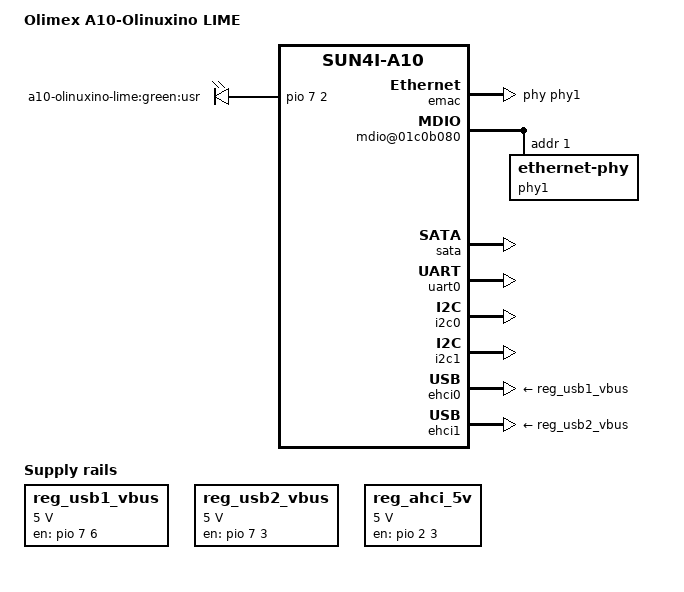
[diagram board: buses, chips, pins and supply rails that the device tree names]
/*
 * Copyright 2012 Stefan Roese
 * Stefan Roese <sr@denx.de>
 *
 * The code contained herein is licensed under the GNU General Public
 * License. You may obtain a copy of the GNU General Public License
 * Version 2 or later at the following locations:
 *
 * http://www.opensource.org/licenses/gpl-license.html
 * http://www.gnu.org/copyleft/gpl.html
 */

/dts-v1/;
/include/ "sun4i-a10.dtsi"

/ {
	model = "Olimex A10-Olinuxino LIME";
	compatible = "olimex,a10-olinuxino-lime", "allwinner,sun4i-a10";

	soc@01c00000 {
		emac: ethernet@01c0b000 {
			pinctrl-names = "default";
			pinctrl-0 = <&emac_pins_a>;
			phy = <&phy1>;
			status = "okay";
		};

		mdio@01c0b080 {
			status = "okay";

			phy1: ethernet-phy@1 {
				reg = <1>;
			};
		};

		sdc0: sdc@01c0f000 {
			pinctrl-names = "default";
			pinctrl-0 = <&sdc0_pins_a>;
			pinctrl-1 = <&mmc0_cd_pin_olinuxino>;
			cd-gpios = <&pio 7 1 0>; /* PH1 */
			cd-mode = <1>;
			status = "okay";
		};

		sata: ahci@01c18000 {
			pwr-supply = <&reg_ahci_5v>;
			status = "okay";
		};

		pinctrl@01c20800 {
			ahci_pwr_pin: ahci_pwr_pin@0 {
				allwinner,pins = "PC3";
				allwinner,function = "gpio_out";
				allwinner,drive = <0>;
				allwinner,pull = <0>;
			};

			mmc0_cd_pin_olinuxino: mmc0_cd_pin@0 {
				allwinner,pins = "PH1";
				allwinner,function = "gpio_in";
				allwinner,drive = <0>;
				allwinner,pull = <0>;
			};

			led_pins_olinuxino: led_pins@0 {
				allwinner,pins = "PH2";
				allwinner,function = "gpio_out";
				allwinner,drive = <1>;
				allwinner,pull = <0>;
			};

			usb1_vbus_pin: usb1_vbus_pin@0 {
					allwinner,pins = "PH6";
					allwinner,function = "gpio_out";
					allwinner,drive = <0>;
					allwinner,pull = <2>;
			};

			usb2_vbus_pin: usb2_vbus_pin@0 {
					allwinner,pins = "PH3";
					allwinner,function = "gpio_out";
					allwinner,drive = <0>;
					allwinner,pull = <2>;
			};
		};

		uart0: serial@01c28000 {
			pinctrl-names = "default";
			pinctrl-0 = <&uart0_pins_a>;
			status = "okay";
		};

		i2c0: i2c@01c2ac00 {
			pinctrl-names = "default";
			pinctrl-0 = <&i2c0_pins_a>;
			status = "okay";
		};

		i2c1: i2c@01c2b000 {
			pinctrl-names = "default";
			pinctrl-0 = <&i2c1_pins_a>;
			status = "okay";
		};

		ehci0: ehci0@0x01c14000 {
				vbus-supply = <&reg_usb1_vbus>;
				status = "okay";
		};

		ehci1: ehci1@0x01c1c000 {
				vbus-supply = <&reg_usb2_vbus>;
				status = "okay";
		};
	};

	leds {
		compatible = "gpio-leds";
		pinctrl-names = "default";
		pinctrl-0 = <&led_pins_olinuxino>;

		green {
			label = "a10-olinuxino-lime:green:usr";
			gpios = <&pio 7 2 0>;
			default-state = "on";
		};
	};

	regulators {
		compatible = "simple-bus";

		reg_usb1_vbus: usb1-vbus {
			compatible = "regulator-fixed";
			pinctrl-names = "default";
			pinctrl-0 = <&usb1_vbus_pin>;
			regulator-name = "usb1-vbus";
			regulator-min-microvolt = <5000000>;
			regulator-max-microvolt = <5000000>;
			enable-active-high;
			gpio = <&pio 7 6 0>;
		};

		reg_usb2_vbus: usb2-vbus {
			compatible = "regulator-fixed";
			pinctrl-names = "default";
			pinctrl-0 = <&usb2_vbus_pin>;
			regulator-name = "usb2-vbus";
			regulator-min-microvolt = <5000000>;
			regulator-max-microvolt = <5000000>;
			enable-active-high;
			gpio = <&pio 7 3 0>;
		};
	};

	regulators {
		compatible = "simple-bus";
		pinctrl-names = "default";

		reg_ahci_5v: ahci-5v {
			compatible = "regulator-fixed";
			regulator-name = "ahci-5v";
			regulator-min-microvolt = <5000000>;
			regulator-max-microvolt = <5000000>;
			pinctrl-0 = <&ahci_pwr_pin>;
			gpio = <&pio 2 3 0>;
			enable-active-high;
		};
	};
};
